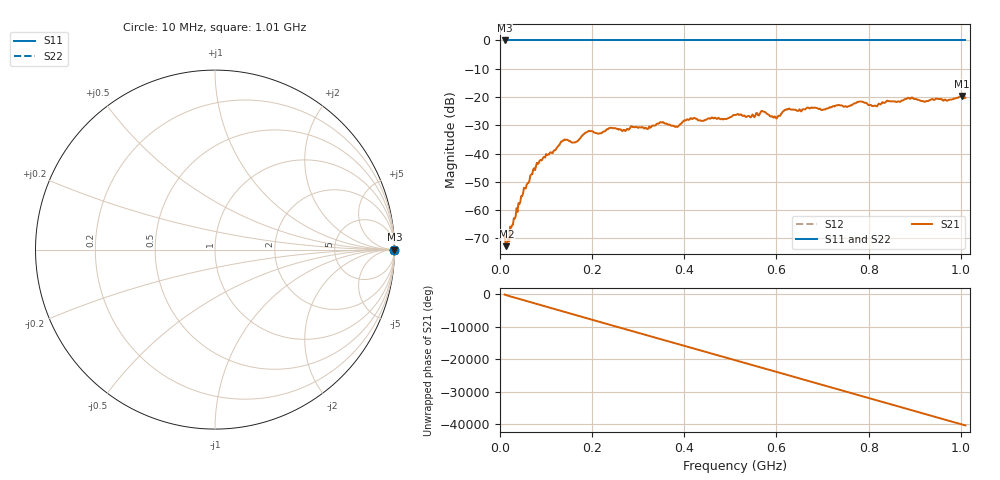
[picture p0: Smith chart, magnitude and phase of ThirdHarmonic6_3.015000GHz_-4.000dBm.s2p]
! 8/17/2025 8:39:32 AM
! C:\ANRITSUVNA\TEMP\TEMP.S2P
! CHANNEL.1
! TR.MEASUREMENT
! RAW.DATA
! RF.CORRECTION.OFF
! AVERAGING.OFF
! IF.BANDWIDTH: 5KHZ
! SWEEPTYPE:  FREQ.SWEEP(Linear)
! Reference Plane Port Info
! PORT:  PORT1  PORT2
! DISTANCE:  0  m  0  m
! TIME:  0  s  0  s
! PHASE.OFFSET:  0  deg.  0  deg.
! LOSS:  0  dB  0  dB
! REF.LOSS:  0  dB  0  dB
! REF.FREQ:  0  Hz  0  Hz
! Power Info
! POWER:  -20  dBm  -20  dBm
! EFF.POWER:  -20  dBm  -20  dBm
! SOURCE.ATTEN:  0  dB  0  dB
! TEST.ATTEN:  0  dB  0  dB
# GHZ S RI R 50.0
! FREQ.GHZ  S11RE  S11IM  S21RE  S21IM  S12RE  S12IM  S22RE  S22IM
!; PortSelection: Port_12
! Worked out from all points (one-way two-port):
!   501 points, 10 MHz to 1.01 GHz, reference 50 ohm
!   highest |S21| = -19.68 dB at 1.002 GHz (marker M1); lowest = -72.8 dB at 14 MHz (marker M2)
!   lowest |S11| = 0.0 dB at 10 MHz (marker M3)
!   |S11| at or under -10 dB: nowhere
!   |S22| runs from 0.0 to 0.0 dB; largest |S21 - S12| = 1.1
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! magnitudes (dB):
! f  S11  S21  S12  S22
! 10 MHz  0.0  -69.3  0.0  0.0
! 14 MHz  0.0  -72.8  0.0  0.0
! 16 MHz  0.0  -71.2  0.0  0.0
! 50 MHz  0.0  -54.2  0.0  0.0
! 84 MHz  0.0  -43.4  0.0  0.0
! 136 MHz  0.0  -35.6  0.0  0.0
! 162 MHz  0.0  -36.1  0.0  0.0
! 178 MHz  0.0  -33.7  0.0  0.0
! 194 MHz  0.0  -32.0  0.0  0.0
! 344 MHz  0.0  -29.4  0.0  0.0
! 384 MHz  0.0  -30.5  0.0  0.0
! 418 MHz  0.0  -27.8  0.0  0.0
! 510 MHz  0.0  -26.4  0.0  0.0
! 570 MHz  0.0  -25.0  0.0  0.0
! 598 MHz  0.0  -27.1  0.0  0.0
! 624 MHz  0.0  -24.4  0.0  0.0
! 678 MHz  0.0  -23.8  0.0  0.0
! 782 MHz  0.0  -21.6  0.0  0.0
! 814 MHz  0.0  -23.1  0.0  0.0
! 844 MHz  0.0  -21.5  0.0  0.0
! 1.002 GHz  0.0  -19.7  0.0  0.0
! 1.01 GHz  0.0  -20.2  0.0  0.0
